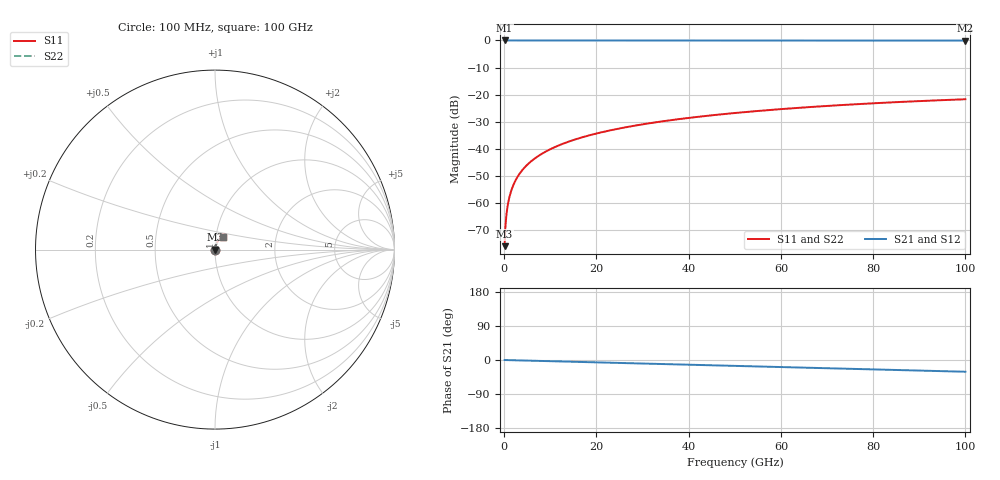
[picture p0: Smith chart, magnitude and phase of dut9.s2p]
! Touchstone file exported from HFSS 2026.1.0
!  File:  C:/ffzhzh/LocalFiles/Ansys_Project_Files/temp_train_TSV_9_1783504204_41296.aedt
!  Generated:  05:51:21 PM Jul  8, 2026
!  Design:  TSV
!  Project:  temp_train_TSV_9_1783504204_41296
! Variables:
!  h_bsmrdl = 2um
!  h_ox = 20um
!  h_rdl = 5um
!  h_sub = 56.34um
!  h_tmrdl = 5um
!  h_tsv = 56.34um
!  h_via = 3um
!  l_bsmrdl = 300um
!  l_sub = 420.12um
!  l_tmrdl = 200um
!  m_sub = 200um
!  pitch = 48.99um
!  r_tsv = 10.06um
!  s_tmrdl = 10um
!  w_bsmrdl = 18um
!  w_sub = 500um
!  w_tmrdl = 12um
!  x_tsv_center1 = 206um
!  x_tsv_center2 = 524um
!  x_tsv_center3 = 736um
!  x_tsv_center4 = 1054um
!  x_tsv_center5 = 1266um
!  x_tsv_center6 = 1584um
# GHz S MA R 50.000000
! Terminal data exported
! Port[1] = TSV1_1_T1
! Port[2] = TSV1_1_T2
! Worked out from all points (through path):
!   1000 points, 100 MHz to 100 GHz, reference 50 ohm
!   highest |S21| = 0.00 dB at 100 MHz (marker M1); lowest = 0.0 dB at 100 GHz (marker M2)
!   group delay of S21, straight-line fit = 860 fs
!   lowest |S11| = -75.9 dB at 100 MHz (marker M3), VSWR 1.00, Z = 50 + j0.0127 ohm
!   |S11| at or under -10 dB: start of sweep to end of sweep
!   |S22| runs from -75.9 to -21.7 dB; largest |S21 - S12| = 6.6e-15
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0.1  0.0001598 52.7  0.9999 -0.0  0.9999 -0.0  0.0001598 52.7
! Gamma 0 0 0 0
! Port Impedance 50 0 50 0
0.4  0.0005043 74.3  0.9999 -0.1  0.9999 -0.1  0.0005043 74.3
0.7  0.000829 77.4  0.9998 -0.2  0.9998 -0.2  0.000829 77.4
0.8  0.0009334 78.0  0.9998 -0.3  0.9998 -0.3  0.0009334 78.0
1  0.00114 79.0  0.9998 -0.3  0.9998 -0.3  0.00114 79.0
1.3  0.001445 80.1  0.9998 -0.4  0.9998 -0.4  0.001445 80.1
1.8  0.00195 81.2  0.9997 -0.6  0.9997 -0.6  0.00195 81.2
2.3  0.002449 81.9  0.9997 -0.7  0.9997 -0.7  0.002449 81.9
3  0.003138 82.4  0.9996 -0.9  0.9996 -0.9  0.003138 82.4
3.8  0.003916 82.8  0.9996 -1.2  0.9996 -1.2  0.003916 82.8
4.8  0.004881 83.1  0.9995 -1.5  0.9995 -1.5  0.004881 83.1
6  0.006031 83.2  0.9995 -1.9  0.9995 -1.9  0.006031 83.2
8.8  0.008698 83.1  0.9993 -2.7  0.9993 -2.7  0.008698 83.2
12.4  0.01209 82.6  0.9992 -3.9  0.9992 -3.9  0.01209 82.6
16.8  0.0162 81.7  0.999 -5.2  0.999 -5.2  0.0162 81.7
24.2  0.02303 79.9  0.9987 -7.5  0.9987 -7.5  0.02303 79.9
33.4  0.03136 77.4  0.9983 -10.4  0.9983 -10.4  0.03136 77.4
41.2  0.03824 75.2  0.9979 -12.8  0.9979 -12.8  0.03824 75.2
50.1  0.04588 72.6  0.9974 -15.5  0.9974 -15.5  0.04588 72.6
66.7  0.05933 67.7  0.9965 -20.7  0.9965 -20.7  0.05933 67.7
83.4  0.0716 62.7  0.9954 -25.8  0.9954 -25.8  0.0716 62.7
100  0.0822 57.7  0.9944 -31.0  0.9944 -31.0  0.0822 57.8
